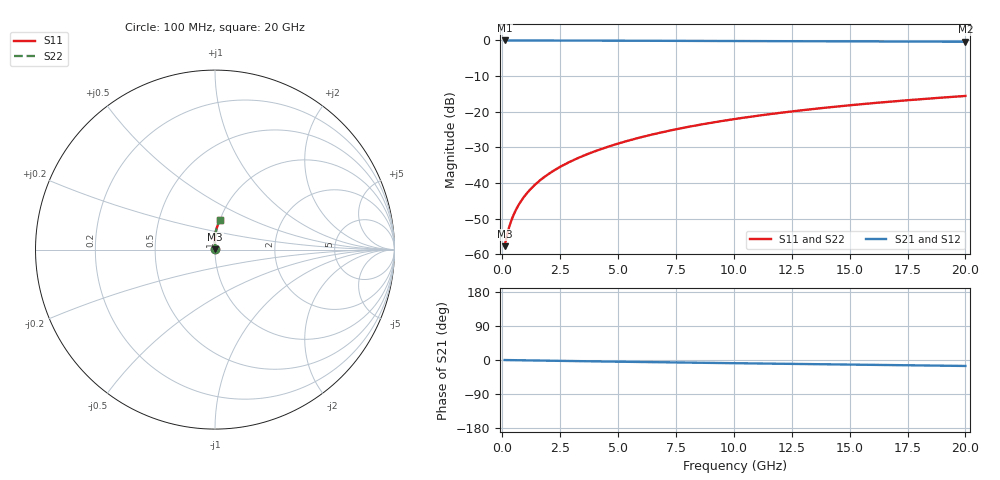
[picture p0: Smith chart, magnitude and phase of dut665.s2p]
! Touchstone file exported from HFSS 2024.1.0
!  File:  C:/UserFiles/LocalFiles/RDL_TSV_Batchsim/temp_RDL_bottom_665_1779785930.aedt
!  Generated:  05:01:21 PM May 26, 2026
!  Design:  RDL_bottom
!  Project:  temp_RDL_bottom_665_1779785930
!  Setup:  Setup1
!  Solution:  Sweep
! Variables:
!  dtsv = 10.80580581um
!  hbump = 3um
!  htsv = 66.65um
!  ldown = 191.02um
!  lrdl = 100um
!  p = 40
!  p1 = 54.48um
!  rhole = 1um
!  t = 450um
!  tdown = 3.13um
!  trdl = 3.915915916um
!  wdown = 27.74um
!  wrdl = 20um
# GHz S MA R 50.000000
! Terminal data exported
! Port[1] = RDL1_T1
! Port[2] = RDL1_T2
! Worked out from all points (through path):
!   200 points, 100 MHz to 20 GHz, reference 50 ohm
!   highest |S21| = -0.01 dB at 100 MHz (marker M1); lowest = -0.4 dB at 20 GHz (marker M2)
!   group delay of S21, straight-line fit = 2.15 ps
!   lowest |S11| = -57.8 dB at 100 MHz (marker M3), VSWR 1.00, Z = 50.1 + j0.0738 ohm
!   |S11| at or under -10 dB: start of sweep to end of sweep
!   |S22| runs from -57.8 to -15.6 dB; largest |S21 - S12| = 2.4e-15
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0.1  0.001294 34.7  0.9989 -0.1  0.9989 -0.1  0.001294 34.7
! Gamma 0 0 0 0
! Port Impedance 50 0 50 0
0.2  0.001823 52.4  0.9989 -0.2  0.9989 -0.2  0.001823 52.4
0.3  0.002418 61.3  0.9988 -0.3  0.9988 -0.3  0.002418 61.3
0.4  0.003024 66.7  0.9987 -0.4  0.9987 -0.4  0.003024 66.7
0.5  0.003634 70.4  0.9986 -0.5  0.9986 -0.5  0.003634 70.4
0.6  0.004248 73.3  0.9986 -0.6  0.9986 -0.6  0.004248 73.3
0.8  0.005494 77.3  0.9984 -0.8  0.9984 -0.8  0.005494 77.3
1.1  0.007402 81.2  0.9982 -1.0  0.9982 -1.0  0.007402 81.2
1.3  0.008698 83.0  0.998 -1.2  0.998 -1.2  0.008698 83.0
1.6  0.01067 85.0  0.9977 -1.5  0.9977 -1.5  0.01067 85.0
2.1  0.01404 87.3  0.9971 -1.9  0.9971 -1.9  0.01404 87.3
2.7  0.01822 89.2  0.9962 -2.5  0.9962 -2.5  0.01822 89.2
3.5  0.02403 90.7  0.9947 -3.2  0.9947 -3.2  0.02403 90.7
4.2  0.02933 91.5  0.9933 -3.8  0.9933 -3.8  0.02933 91.5
5  0.03563 92.0  0.9915 -4.5  0.9915 -4.5  0.03563 92.0
5.9  0.04297 92.2  0.9894 -5.2  0.9894 -5.2  0.04297 92.2
6.8  0.05054 92.0  0.9872 -5.9  0.9872 -5.9  0.05054 92.0
8.4  0.06438 91.1  0.9834 -7.2  0.9834 -7.2  0.06438 91.1
10.1  0.0794 89.8  0.9795 -8.5  0.9795 -8.5  0.0794 89.8
13.4  0.1087 86.8  0.9725 -10.9  0.9725 -10.9  0.1087 86.8
16.7  0.1377 83.6  0.9657 -13.3  0.9657 -13.3  0.1377 83.6
20  0.1661 80.6  0.959 -15.7  0.959 -15.7  0.1661 80.6
